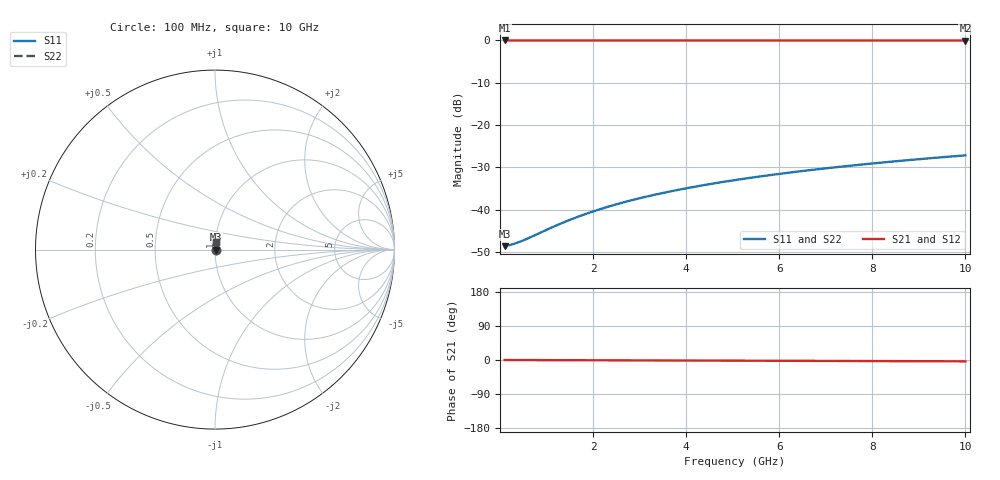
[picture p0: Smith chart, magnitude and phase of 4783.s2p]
# Hz S RI R 50.00
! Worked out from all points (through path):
!   100 points, 100 MHz to 10 GHz, reference 50 ohm
!   highest |S21| = -0.03 dB at 100 MHz (marker M1); lowest = 0.0 dB at 10 GHz (marker M2)
!   lowest |S11| = -48.6 dB at 100 MHz (marker M3), VSWR 1.01, Z = 50.4 + j0.0438 ohm
!   |S11| at or under -10 dB: start of sweep to end of sweep
!   |S22| runs from -48.6 to -27.1 dB; largest |S21 - S12| = 1e-13
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1e8  0.0037 0.000435  0.9963 -0.000609  0.9963 -0.000609  0.0037 0.000435
2e8  0.00373 0.00087  0.9963 -0.00122  0.9963 -0.00122  0.00373 0.00087
3e8  0.00374 0.00131  0.9963 -0.00183  0.9963 -0.00183  0.00374 0.00131
5e8  0.00378 0.00218  0.9962 -0.00304  0.9962 -0.00304  0.00378 0.00218
1.1e9  0.00385 0.00479  0.9961 -0.0067  0.9961 -0.0067  0.00385 0.00479
1.3e9  0.00388 0.00565  0.9961 -0.00792  0.9961 -0.00792  0.00388 0.00565
1.5e9  0.0039 0.00652  0.9961 -0.00913  0.9961 -0.00913  0.0039 0.00652
1.8e9  0.00395 0.00783  0.996 -0.011  0.996 -0.011  0.00395 0.00783
2.1e9  0.00399 0.00913  0.996 -0.0128  0.996 -0.0128  0.00399 0.00913
2.5e9  0.00406 0.0109  0.9959 -0.0152  0.9959 -0.0152  0.00406 0.0109
2.9e9  0.00413 0.0126  0.9959 -0.0177  0.9959 -0.0177  0.00413 0.0126
3.4e9  0.00423 0.0148  0.9957 -0.0207  0.9957 -0.0207  0.00423 0.0148
3.8e9  0.00432 0.0165  0.9957 -0.0231  0.9957 -0.0231  0.00432 0.0165
4.2e9  0.00442 0.0183  0.9955 -0.0256  0.9955 -0.0256  0.00442 0.0183
4.6e9  0.00452 0.02  0.9954 -0.028  0.9954 -0.028  0.00452 0.02
5.1e9  0.00466 0.0222  0.9953 -0.031  0.9953 -0.031  0.00466 0.0222
5.9e9  0.00492 0.0256  0.995 -0.0359  0.995 -0.0359  0.00492 0.0256
6.7e9  0.00521 0.0291  0.9947 -0.0408  0.9947 -0.0408  0.00521 0.0291
7.5e9  0.00553 0.0326  0.9944 -0.0456  0.9944 -0.0456  0.00553 0.0326
8.4e9  0.00593 0.0365  0.9939 -0.0511  0.9939 -0.0511  0.00593 0.0365
9.2e9  0.00633 0.0399  0.9935 -0.056  0.9935 -0.056  0.00633 0.0399
1e10  0.00676 0.0434  0.9931 -0.0608  0.9931 -0.0608  0.00676 0.0434
